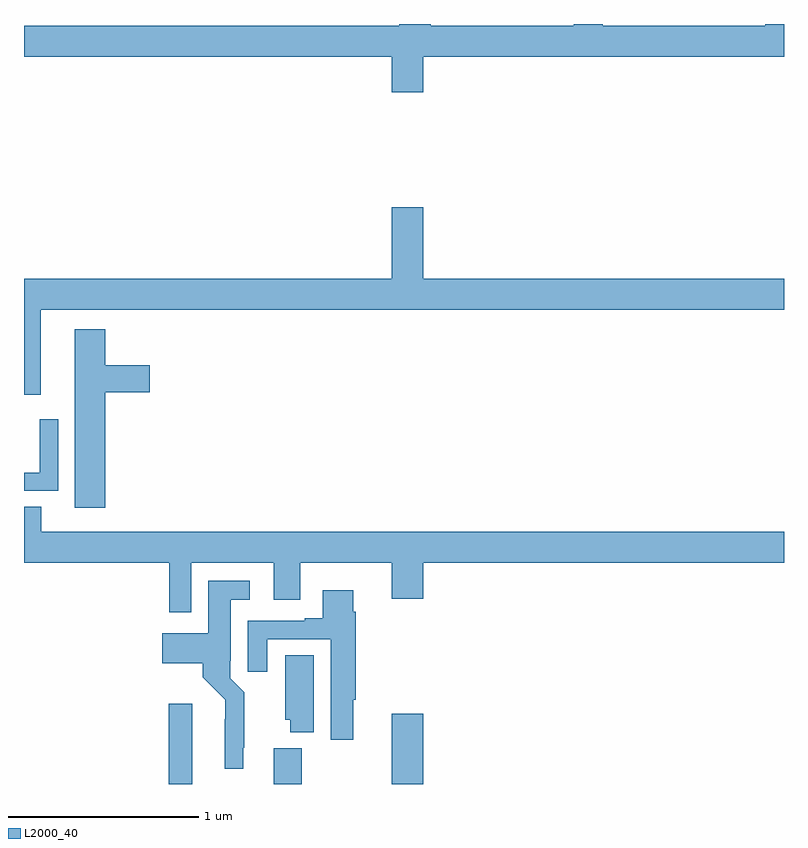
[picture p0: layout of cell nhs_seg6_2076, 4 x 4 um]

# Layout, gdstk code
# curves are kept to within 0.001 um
import gdstk
lib = gdstk.Library(unit=1e-6, precision=1e-09)
def R(c, l, rs):  # rectangles x0, y0, x1, y1
    for r in rs: c.add(gdstk.rectangle(r[:2], r[2:], *l))
def P(c, l, *ps):  # polygons
    for p in ps: c.add(gdstk.Polygon(p, *l))
L2000_40 = (2000, 40)

nhs_seg6_2076 = lib.new_cell('nhs_seg6_2076')
R(nhs_seg6_2076, L2000_40, [(235.763,951.5,235.885,951.922), (236.315,951.5,236.463,951.688), (236.936,951.5,237.1,951.871)])
P(nhs_seg6_2076, L2000_40, [(237.1,955.328),(239,955.328),(239,955.5),(238.901,955.5),(238.901,955.492),(238.045,955.492),(238.045,955.5),(237.893,955.5),(237.893,955.492),(237.14,955.492),(237.14,955.5),(236.975,955.5),(236.975,955.492),(235,955.492),(235,955.328),(236.936,955.328),(236.936,955.14),(237.1,955.14)],
  [(235.088,953.996),(239,953.996),(239,954.16),(237.1,954.16),(237.1,954.535),(236.936,954.535),(236.936,954.16),(235,954.16),(235,953.55),(235.088,953.55)],
  [(235.427,953.561),(235.663,953.561),(235.663,953.703),(235.427,953.703),(235.427,953.893),(235.268,953.893),(235.268,952.953),(235.427,952.953)],
  [(235.179,953.419),(235.083,953.419),(235.083,953.139),(235,953.139),(235,953.043),(235.179,953.043)],
  [(235.881,952.664),(236.315,952.664),(236.315,952.47),(236.455,952.47),(236.455,952.664),(236.936,952.664),(236.936,952.476),(237.1,952.476),(237.1,952.664),(239,952.664),(239,952.828),(235.09,952.828),(235.09,952.958),(235,952.958),(235,952.664),(235.765,952.664),(235.765,952.404),(235.881,952.404)],
  [(236.155,951.691),(236.159,951.691),(236.159,951.982),(236.085,952.056),(236.085,952.15),(236.089,952.15),(236.089,952.469),(236.188,952.469),(236.188,952.57),(235.97,952.57),(235.97,952.294),(235.728,952.294),(235.728,952.136),(235.94,952.136),(235.94,952.062),(236.058,951.944),(236.057,951.581),(236.155,951.581)],
  [(236.734,951.944),(236.747,951.944),(236.747,952.406),(236.734,952.406),(236.734,952.519),(236.573,952.519),(236.573,952.372),(236.477,952.372),(236.477,952.359),(236.177,952.359),(236.177,952.092),(236.281,952.092),(236.281,952.263),(236.615,952.263),(236.615,951.732),(236.734,951.732)],
  [(236.524,952.178),(236.375,952.178),(236.375,951.837),(236.402,951.837),(236.402,951.773),(236.524,951.773)])

lib.write_gds('nhs_seg6_2076.gds')
